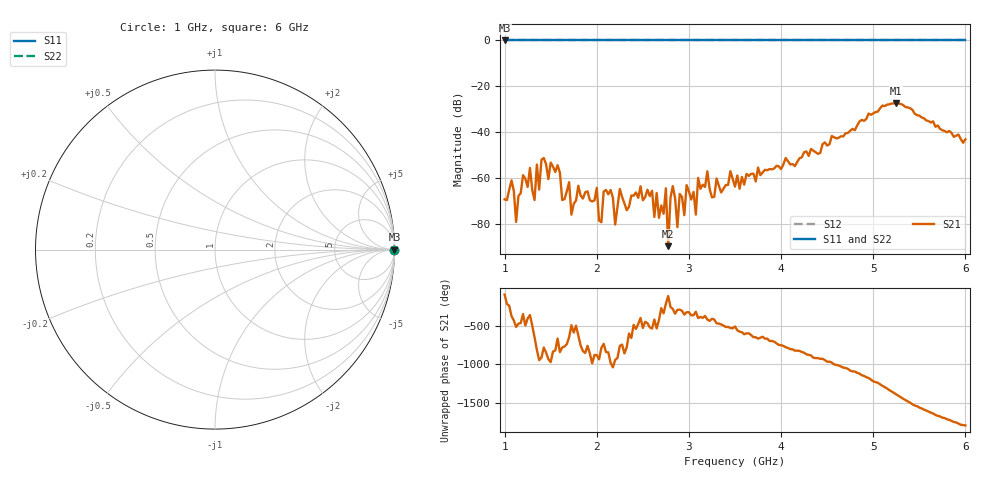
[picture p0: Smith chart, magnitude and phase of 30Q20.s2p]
!Keysight Technologies N9926A: A.08.19
!Date: Sunday, 01 March 2026 14:06:03
!Timezone: (GMT-06:00) Central Time (US & Canada)
!Model: N9926A
!Serial: MY53102721
!GPS Latitude:
!GPS Longitude:
!GPS TimeStamp: 0001-01-01 00:00:00Z
!GPS Seconds Since Last Read: 0
!CHECKSUM:0950831716
!Correction: S11()S21(ON U)S12()S22()
!S2P File: Measurements:S11,S21,S12,S22:
# Hz S DB R 50
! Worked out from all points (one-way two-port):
!   201 points, 1 GHz to 6 GHz, reference 50 ohm
!   highest |S21| = -27.35 dB at 5.25 GHz (marker M1); lowest = -89.7 dB at 2.775 GHz (marker M2)
!   lowest |S11| = 0.0 dB at 1 GHz (marker M3)
!   |S11| at or under -10 dB: nowhere
!   |S22| runs from 0.0 to 0.0 dB; largest |S21 - S12| = 1
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1e9  0.00 0.0  -69.32 -96.5  0.00 0.0  0.00 0.0
1.075e9  0.00 0.0  -61.04 -15.9  0.00 0.0  0.00 0.0
1.125e9  0.00 0.0  -79.16 -156.8  0.00 0.0  0.00 0.0
1.2e9  0.00 0.0  -58.78 10.7  0.00 0.0  0.00 0.0
1.325e9  0.00 0.0  -69.62 68.2  0.00 0.0  0.00 0.0
1.425e9  0.00 0.0  -51.30 -62.4  0.00 0.0  0.00 0.0
1.7e9  0.00 0.0  -61.84 69.8  0.00 0.0  0.00 0.0
1.725e9  0.00 0.0  -76.00 -133.5  0.00 0.0  0.00 0.0
1.85e9  0.00 0.0  -68.98 -109.4  0.00 0.0  0.00 0.0
2.2e9  0.00 0.0  -80.31 137.3  0.00 0.0  0.00 0.0
2.475e9  0.00 0.0  -63.61 -39.4  0.00 0.0  0.00 0.0
2.675e9  0.00 0.0  -77.38 -66.1  0.00 0.0  0.00 0.0
2.75e9  0.00 0.0  -64.50 144.2  0.00 0.0  0.00 0.0
2.775e9  0.00 0.0  -89.75 -115.1  0.00 0.0  0.00 0.0
2.825e9  0.00 0.0  -63.55 76.2  0.00 0.0  0.00 0.0
2.875e9  0.00 0.0  -81.44 65.4  0.00 0.0  0.00 0.0
3.2e9  0.00 0.0  -57.06 -60.3  0.00 0.0  0.00 0.0
3.5e9  0.00 0.0  -63.76 -150.3  0.00 0.0  0.00 0.0
4.35e9  0.00 0.0  -48.07 165.4  0.00 0.0  0.00 0.0
5.175e9  0.00 0.0  -27.86 105.5  0.00 0.0  0.00 0.0
5.25e9  0.00 0.0  -27.35 50.3  0.00 0.0  0.00 0.0
6e9  0.00 0.0  -43.14 8.1  0.00 0.0  0.00 0.0
